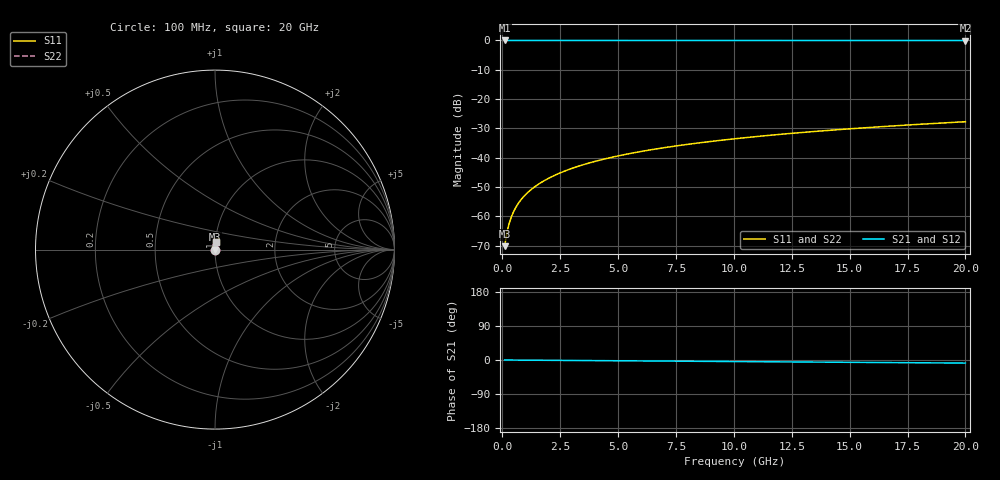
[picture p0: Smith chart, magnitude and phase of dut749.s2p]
! Touchstone file exported from HFSS 2026.1.0
!  File:  C:/ffzhzh/LocalFiles/Ansys_Project_Files/temp_train_TSV_749_1783182993_18472.aedt
!  Generated:  12:38:05 AM Jul  5, 2026
!  Design:  TSV
!  Project:  temp_train_TSV_749_1783182993_18472
! Variables:
!  h_bsmrdl = 2um
!  h_ox = 20um
!  h_rdl = 5um
!  h_sub = 75.8um
!  h_tmrdl = 5um
!  h_tsv = 75.8um
!  h_via = 3um
!  l_bsmrdl = 300um
!  l_sub = 415.12um
!  l_tmrdl = 200um
!  m_sub = 200um
!  pitch = 44.73um
!  r_tsv = 7.56um
!  s_tmrdl = 10um
!  w_bsmrdl = 18um
!  w_sub = 500um
!  w_tmrdl = 12um
!  x_tsv_center1 = 206um
!  x_tsv_center2 = 524um
!  x_tsv_center3 = 736um
!  x_tsv_center4 = 1054um
!  x_tsv_center5 = 1266um
!  x_tsv_center6 = 1584um
# GHz S MA R 50.000000
! Terminal data exported
! Port[1] = TSV1_1_T1
! Port[2] = TSV1_1_T2
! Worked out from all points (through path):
!   200 points, 100 MHz to 20 GHz, reference 50 ohm
!   highest |S21| = 0.00 dB at 100 MHz (marker M1); lowest = 0.0 dB at 20 GHz (marker M2)
!   group delay of S21, straight-line fit = 1.13 ps
!   lowest |S11| = -70.2 dB at 100 MHz (marker M3), VSWR 1.00, Z = 50 + j0.0248 ohm
!   |S11| at or under -10 dB: start of sweep to end of sweep
!   |S22| runs from -70.2 to -27.7 dB; largest |S21 - S12| = 5e-15
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0.1  0.0003107 52.9  0.9998 -0.0  0.9998 -0.0  0.0003107 52.9
! Gamma 0 0 0 0
! Port Impedance 50 0 50 0
0.2  0.0005318 68.1  0.9998 -0.1  0.9998 -0.1  0.0005318 68.1
0.3  0.0007662 73.8  0.9998 -0.1  0.9998 -0.1  0.0007662 73.8
0.4  0.001001 76.5  0.9998 -0.2  0.9998 -0.2  0.001001 76.5
0.5  0.001233 78.0  0.9997 -0.2  0.9997 -0.2  0.001233 78.0
0.6  0.001461 78.9  0.9997 -0.3  0.9997 -0.3  0.001461 78.9
0.7  0.001685 79.6  0.9997 -0.3  0.9997 -0.3  0.001685 79.6
0.8  0.001907 80.1  0.9997 -0.3  0.9997 -0.3  0.001907 80.1
1  0.002342 80.9  0.9996 -0.4  0.9996 -0.4  0.002342 80.9
1.4  0.003197 82.0  0.9996 -0.6  0.9996 -0.6  0.003197 82.0
1.7  0.003832 82.5  0.9995 -0.7  0.9995 -0.7  0.003832 82.5
2  0.004465 83.0  0.9995 -0.8  0.9995 -0.8  0.004465 83.0
2.7  0.005941 83.6  0.9994 -1.1  0.9994 -1.1  0.005941 83.6
3.5  0.00762 83.9  0.9994 -1.4  0.9994 -1.4  0.00762 83.9
4.2  0.009082 84.0  0.9993 -1.7  0.9993 -1.7  0.009082 84.0
5  0.01074 84.0  0.9992 -2.1  0.9992 -2.1  0.01074 84.0
6.8  0.01446 83.8  0.999 -2.8  0.999 -2.8  0.01446 83.8
8.3  0.01753 83.5  0.9989 -3.4  0.9989 -3.4  0.01753 83.5
10.1  0.0212 83.0  0.9987 -4.1  0.9987 -4.1  0.0212 83.0
13.4  0.0279 82.1  0.9984 -5.5  0.9984 -5.5  0.0279 82.1
16.7  0.03455 81.0  0.9981 -6.8  0.9981 -6.8  0.03455 81.0
20  0.04114 79.8  0.9977 -8.1  0.9977 -8.1  0.04114 79.8
